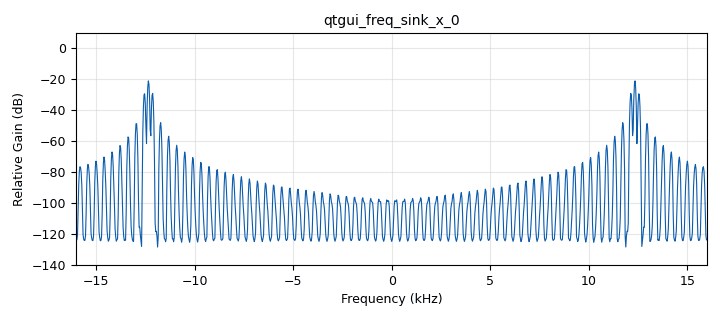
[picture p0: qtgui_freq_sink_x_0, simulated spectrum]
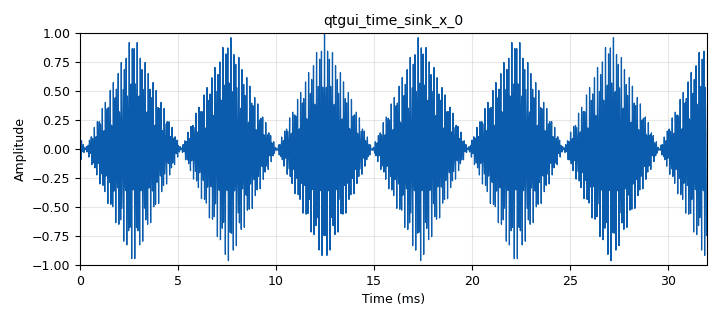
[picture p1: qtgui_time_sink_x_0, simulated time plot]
options:
  parameters:
    author: Barrios_Tirado
    copyright: UIS
    generate_options: qt_gui
    id: multiplicaion_de_potencias
    output_language: python
    title: multiplicaion_de_potencias
  states: {}

blocks:
- name: freq_a
  id: variable_qtgui_range
  parameters:
    label: frecuencia_a
    start: '1'
    step: '10'
    stop: '100'
    value: '64'
  states: {}
- name: freq_b
  id: variable_qtgui_range
  parameters:
    label: frecuencia_b
    start: '1000'
    step: '1000'
    stop: '40000'
    value: '23856'
  states: {}
- name: samp_rate
  id: variable
  parameters:
    value: '32000'
  states: {}
- name: samp_rate_0
  id: variable_qtgui_range
  parameters:
    label: frecuencia de muestreo
    start: 1e3
    step: 1e3
    stop: 1e6
    value: 10e3
  states: {}
- name: analog_sig_source_x_0
  id: analog_sig_source_x
  parameters:
    amp: '1'
    freq: freq_a
    offset: '0'
    phase: '0'
    samp_rate: samp_rate_0
    type: float
    waveform: analog.GR_TRI_WAVE
  states: {}
- name: analog_sig_source_x_0_0
  id: analog_sig_source_x
  parameters:
    amp: '1'
    freq: freq_b
    offset: '0'
    phase: '0'
    samp_rate: samp_rate_0
    type: float
    waveform: analog.GR_COS_WAVE
  states: {}
- name: blocks_multiply_xx_0
  id: blocks_multiply_xx
  parameters:
    type: float
  states: {}
- name: blocks_throttle_0
  id: blocks_throttle
  parameters:
    samples_per_second: samp_rate
    type: float
  states: {}
- name: qtgui_freq_sink_x_0
  id: qtgui_freq_sink_x
  parameters:
    bw: samp_rate
    fc: '0'
    fftsize: '1024'
    type: float
  states: {}
- name: qtgui_time_sink_x_0
  id: qtgui_time_sink_x
  parameters:
    size: '1024'
    srate: samp_rate
    type: float
  states: {}

connections:
- [analog_sig_source_x_0, '0', blocks_multiply_xx_0, '0']
- [analog_sig_source_x_0_0, '0', blocks_multiply_xx_0, '1']
- [blocks_multiply_xx_0, '0', blocks_throttle_0, '0']
- [blocks_throttle_0, '0', qtgui_freq_sink_x_0, '0']
- [blocks_throttle_0, '0', qtgui_time_sink_x_0, '0']

metadata:
  file_format: 1
